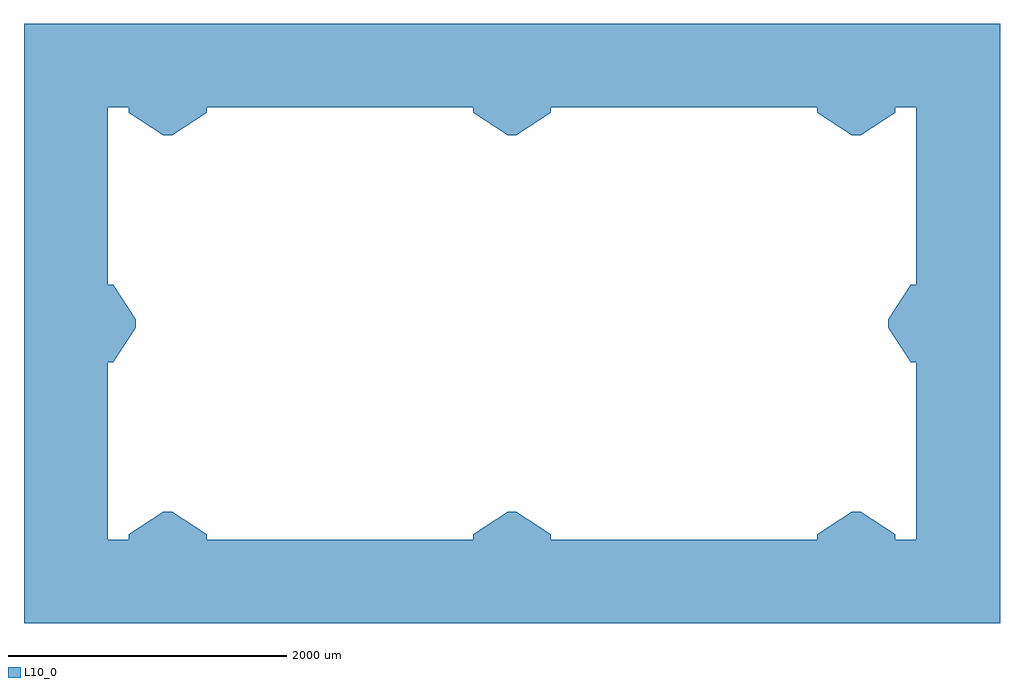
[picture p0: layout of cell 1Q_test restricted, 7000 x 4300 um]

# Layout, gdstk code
import gdstk
lib = gdstk.Library(unit=1e-6, precision=1e-09)
def P(c, l, *ps):  # polygons
    for p in ps: c.add(gdstk.Polygon(p, *l))
L10_0 = (10, 0)

c_1q_test_restricted = lib.new_cell('1Q_test restricted')
P(c_1q_test_restricted, L10_0, [(5938,3500),(6002,3500),(6249,3660),(6249,4168),(5691,4168),(5691,3660)],
  [(6002,800),(5938,800),(5691,640),(5691,132),(6249,132),(6249,640)],
  [(3468,3500),(3532,3500),(3779,3660),(3779,4168),(3221,4168),(3221,3660)],
  [(3532,800),(3468,800),(3221,640),(3221,132),(3779,132),(3779,640)],
  [(998,3500),(1062,3500),(1309,3660),(1309,4168),(751,4168),(751,3660)],
  [(1062,800),(998,800),(751,640),(751,132),(1309,132),(1309,640)],
  [(6200,2182),(6200,2118),(6360,1871),(6868,1871),(6868,2429),(6360,2429)],
  [(800,2118),(800,2182),(640,2429),(132,2429),(132,1871),(640,1871)],
  [(7000,0),(7000,4300),(0,4300),(0,1871),(132,1871),(132,2429),(600,2429),(600,3700),(751,3700),(751,4168),(1309,4168),(1309,3700),(3221,3700),(3221,4168),(3779,4168),(3779,3700),(5691,3700),(5691,4168),(6249,4168),(6249,3700),(6400,3700),(6400,2429),(6868,2429),(6868,1871),(6400,1871),(6400,600),(6249,600),(6249,132),(5691,132),(5691,600),(3779,600),(3779,132),(3221,132),(3221,600),(1309,600),(1309,132),(751,132),(751,600),(600,600),(600,1871),(0,1871),(0,0)])

lib.write_gds('1Q_test_restricted.gds')
